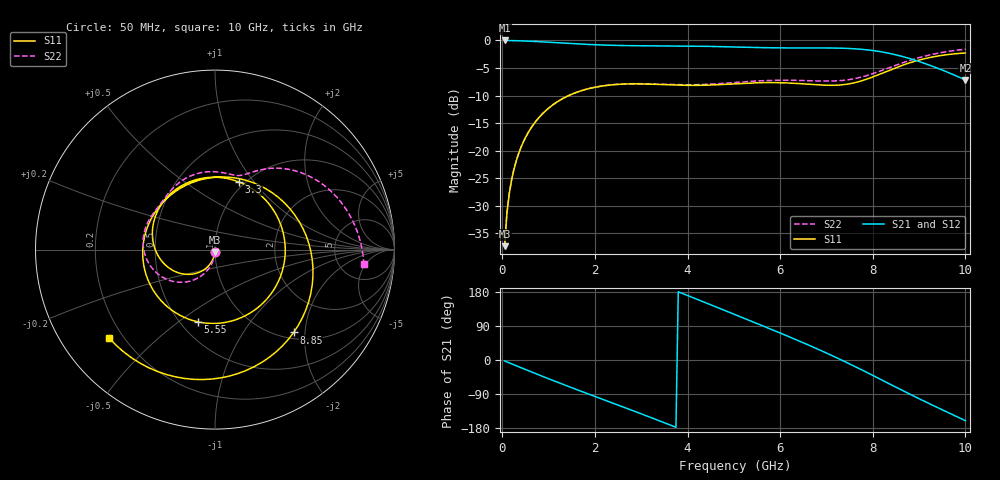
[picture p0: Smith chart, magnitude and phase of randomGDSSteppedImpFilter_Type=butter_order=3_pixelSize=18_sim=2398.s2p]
! freq	dB(S11)	phase(S11)	dB(S12)	phase(S12)
!  dB(S21)	phase(S21)	dB(S22)	phase(S22)
!S-par simulation data
#  GHz  S  DB  R 50
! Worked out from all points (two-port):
!   200 points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, 50 MHz to 10 GHz, reference 50 ohm
!   highest |S21| = -0.01 dB at 50 MHz (marker M1); lowest = -7.2 dB at 10 GHz (marker M2)
!   |S21| within 3 dB of the highest: start of sweep to 8.681 GHz
!   lowest |S11| = -37.3 dB at 50 MHz (marker M3), VSWR 1.03, Z = 49.9 - j1.36 ohm
!   |S11| at or under -10 dB: start of sweep to 1.435 GHz
!   |S22| runs from -37.3 to -1.6 dB; largest |S21 - S12| = 0
!   S11 on the Smith chart (normalised r, x): 50 MHz: 1.00, -0.03; 3.3 GHz: 0.94, +0.84; 5.55 GHz: 0.61, -0.59; 8.85 GHz: 1.13, -1.75; 10 GHz: 0.15, -0.35
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0.05  -37.30 -92.8  -0.01 -2.6  -0.01 -2.6  -37.29 -92.0
0.1  -31.29 -95.9  -0.01 -5.1  -0.01 -5.1  -31.28 -94.4
0.2  -25.32 -101.9  -0.03 -10.1  -0.03 -10.1  -25.31 -98.8
0.5  -17.62 -119.4  -0.11 -25.1  -0.11 -25.1  -17.61 -111.7
1.15  -11.34 -156.7  -0.40 -56.7  -0.40 -56.7  -11.32 -138.0
1.75  -9.01 169.1  -0.69 -84.7  -0.69 -84.7  -8.99 -159.9
2.5  -7.97 124.3  -0.91 -119.0  -0.91 -119.0  -7.94 176.5
3.3  -7.96 70.6  -0.98 -156.1  -0.98 -156.1  -7.90 156.3
3.4  -7.99 63.3  -0.99 -160.8  -0.99 -160.8  -7.93 154.1
4.25  -8.14 -2.6  -1.05 158.1  -1.05 158.1  -8.01 138.4
5.05  -7.85 -65.5  -1.20 118.6  -1.20 118.6  -7.61 123.0
5.55  -7.67 -103.2  -1.30 93.8  -1.30 93.8  -7.33 111.4
6.2  -7.73 -152.4  -1.36 61.0  -1.36 61.0  -7.22 95.2
6.7  -8.00 166.3  -1.36 34.8  -1.36 34.8  -7.32 83.5
7.15  -8.13 123.9  -1.38 10.0  -1.38 10.0  -7.35 75.1
7.6  -7.69 76.6  -1.51 -16.3  -1.51 -16.3  -6.94 68.5
7.95  -6.78 39.1  -1.78 -37.6  -1.78 -37.6  -6.16 62.7
8.35  -5.44 -1.2  -2.33 -62.4  -2.33 -62.4  -4.95 53.3
8.85  -3.92 -46.5  -3.42 -93.1  -3.42 -93.1  -3.49 37.3
9.45  -2.77 -95.5  -5.20 -128.5  -5.20 -128.5  -2.25 15.0
9.7  -2.49 -115.5  -6.06 -142.9  -6.06 -142.9  -1.90 5.6
10  -2.28 -140.4  -7.17 -160.1  -7.17 -160.1  -1.59 -5.4
